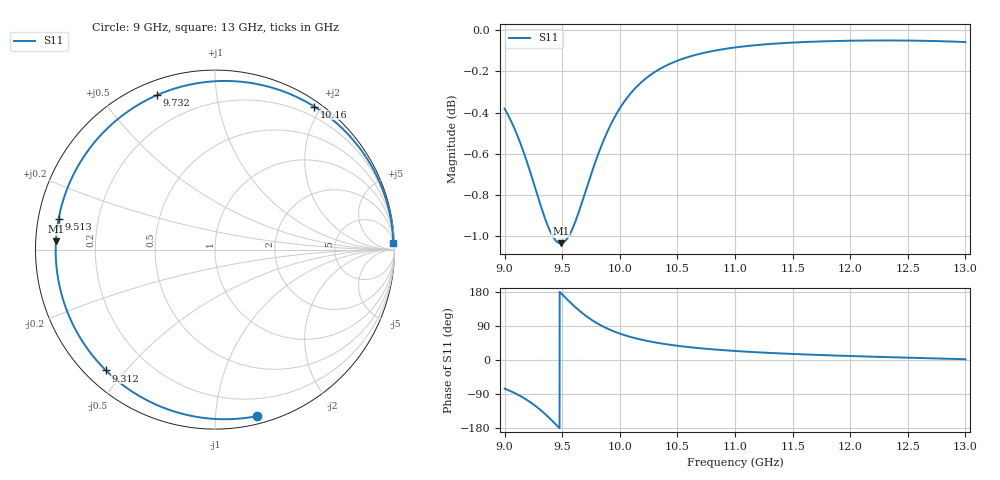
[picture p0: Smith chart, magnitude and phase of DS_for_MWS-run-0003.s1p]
! TOUCHSTONE file generated by CST DESIGN STUDIO
! Date and time: Tue Feb  4 17:16:51 2025
! Project name: C:\Work\MatlabApps\UnitCellOptimizationMatlab\CST\unitcell.cst
! Tree item: Tasks\Sweep1\SPara1\S-Parameters
! Header version: 2024
! Port assignment regex: !\s*Touchstone port\s*([0-9]+)\s*=\s*(CST MWS port|CST DES external port|CST DES block port)\s*(.+)\s* \(\"(.*)\"\)(\s*mode\s*([0-9]+))?.*
! Touchstone port assignment:
! Touchstone port 1 = CST DES external port 1 ("")
# GHz S MA R 50
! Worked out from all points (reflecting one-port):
!   4001 points, 9 GHz to 13 GHz, reference 50 ohm
!   lowest |S11| = -1.0 dB at 9.487 GHz (marker M1), VSWR 16.80, Z = 2.98 + j1.3 ohm
!   phase of S11 starts at -76 deg and turns -282 deg over the sweep
!   S11 on the Smith chart (normalised r, x): 9 GHz: 0.06, -1.29; 9.312 GHz: 0.06, -0.44; 9.513 GHz: 0.06, +0.10; 9.732 GHz: 0.06, +0.69; 10.16 GHz: 0.07, +1.91; 13 GHz: 10, +55
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9  0.9572 -75.7
9.079  0.9474 -86.0
9.178  0.9319 -102.3
9.247  0.9192 -116.5
9.312  0.9068 -132.1
9.358  0.8989 -144.4
9.407  0.8922 -158.6
9.448  0.8887 -171.0
9.487  0.8876 177.0
9.5  0.8878 173.0
9.513  0.8882 169.0
9.566  0.8922 153.1
9.626  0.9004 136.2
9.678  0.9093 123.0
9.732  0.9192 110.7
9.786  0.9287 100.0
9.846  0.9383 89.7
9.922  0.9487 78.8
10  0.9573 69.7
10.165  0.9701 55.2
10.317  0.9775 45.8
10.5  0.9832 37.5
10.722  0.9874 30.3
11  0.9905 23.8
11.5  0.9932 16.0
12  0.9942 10.5
12.5  0.9943 6.1
13  0.9935 2.0
